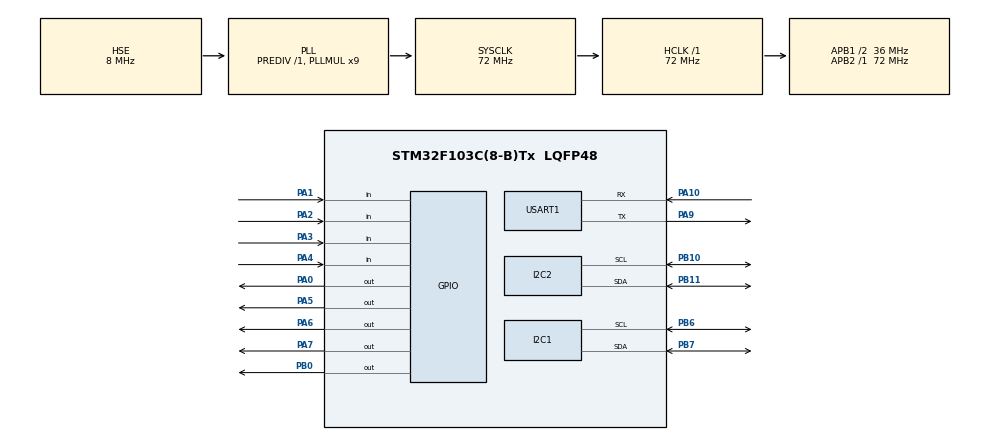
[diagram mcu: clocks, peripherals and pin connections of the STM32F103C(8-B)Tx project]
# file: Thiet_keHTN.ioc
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FREERTOS.INCLUDE_eTaskGetState=1
FREERTOS.INCLUDE_pcTaskGetTaskName=1
FREERTOS.INCLUDE_uxTaskGetStackHighWaterMark=1
FREERTOS.INCLUDE_vTaskCleanUpResources=1
FREERTOS.INCLUDE_vTaskDelayUntil=1
FREERTOS.INCLUDE_xEventGroupSetBitFromISR=1
FREERTOS.INCLUDE_xQueueGetMutexHolder=1
FREERTOS.INCLUDE_xSemaphoreGetMutexHolder=1
FREERTOS.INCLUDE_xTaskAbortDelay=1
FREERTOS.INCLUDE_xTaskGetCurrentTaskHandle=1
FREERTOS.INCLUDE_xTaskGetHandle=1
FREERTOS.Tasks01=Task0,24,150,Buttons,Default,NULL,Dynamic,NULL,NULL
FREERTOS.configUSE_NEWLIB_REENTRANT=0
I2C1.I2C_Mode=I2C_Fast
Mcu.Family=STM32F1
Mcu.Name=STM32F103C(8-B)Tx
Mcu.Package=LQFP48
NVIC.PriorityGroup=NVIC_PRIORITYGROUP_4
NVIC.TIM4_IRQn=true\:15\:0\:false\:false\:true\:false\:false\:true\:true
NVIC.TimeBase=TIM4_IRQn
NVIC.TimeBaseIP=TIM4
NVIC.USART1_IRQn=true\:7\:0\:true\:false\:true\:true\:true\:true\:true
PA0-WKUP.Signal=GPIO_Output
PA1.GPIO_PuPd=GPIO_PULLUP
PA1.Signal=GPIO_Input
PA10.Mode=Asynchronous
PA10.Signal=USART1_RX
PA13.Mode=Serial_Wire
PA13.Signal=SYS_JTMS-SWDIO
PA14.Mode=Serial_Wire
PA14.Signal=SYS_JTCK-SWCLK
PA2.GPIO_PuPd=GPIO_PULLUP
PA2.Signal=GPIO_Input
PA3.GPIO_PuPd=GPIO_PULLUP
PA3.Signal=GPIO_Input
PA4.GPIO_PuPd=GPIO_PULLUP
PA4.Signal=GPIO_Input
PA5.GPIO_PuPd=GPIO_PULLDOWN
PA5.Signal=GPIO_Output
PA6.GPIO_PuPd=GPIO_PULLDOWN
PA6.Signal=GPIO_Output
PA7.GPIO_PuPd=GPIO_PULLDOWN
PA7.Signal=GPIO_Output
PA9.Mode=Asynchronous
PA9.Signal=USART1_TX
PB0.GPIO_PuPd=GPIO_PULLDOWN
PB0.Signal=GPIO_Output
PB10.Mode=I2C
PB10.Signal=I2C2_SCL
PB11.Mode=I2C
PB11.Signal=I2C2_SDA
PB6.Mode=I2C
PB6.Signal=I2C1_SCL
PB7.Mode=I2C
PB7.Signal=I2C1_SDA
PD0-OSC_IN.Mode=HSE-External-Oscillator
PD0-OSC_IN.Signal=RCC_OSC_IN
PD1-OSC_OUT.Mode=HSE-External-Oscillator
PD1-OSC_OUT.Signal=RCC_OSC_OUT
ProjectManager.HeapSize=0x200
ProjectManager.StackSize=0x400
ProjectManager.TargetToolchain=STM32CubeIDE
RCC.AHBFreq_Value=72000000
RCC.APB1CLKDivider=RCC_HCLK_DIV2
RCC.APB1Freq_Value=36000000
RCC.APB1TimFreq_Value=72000000
RCC.APB2Freq_Value=72000000
RCC.APB2TimFreq_Value=72000000
RCC.HCLKFreq_Value=72000000
RCC.PLLMUL=RCC_PLL_MUL9
RCC.PLLSourceVirtual=RCC_PLLSOURCE_HSE
RCC.SYSCLKFreq_VALUE=72000000
RCC.SYSCLKSource=RCC_SYSCLKSOURCE_PLLCLK
RCC.USBFreq_Value=72000000
TIM1.Period=0xffff-1
TIM1.Prescaler=50-1
USART1.VirtualMode=VM_ASYNC
VP_FREERTOS_VS_CMSIS_V2.Mode=CMSIS_V2
VP_SYS_VS_tim4.Mode=TIM4
VP_TIM1_VS_ClockSourceINT.Mode=Internal
board=custom

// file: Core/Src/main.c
/* USER CODE BEGIN Header */
/**
  ******************************************************************************
  * @file           : main.c
  * @brief          : Main program body
  ******************************************************************************
  * @attention
  *
  * Copyright (c) 2023 STMicroelectronics.
  * All rights reserved.
  *
  * This software is licensed under terms that can be found in the LICENSE file
  * in the root directory of this software component.
  * If no LICENSE file comes with this software, it is provided AS-IS.
  *
  ******************************************************************************
  */
/* USER CODE END Header */
#include "main.h"

/* USER CODE BEGIN Includes */
#include "FreeRTOS.h"
#include "task.h"
#include "timers.h"
#include "queue.h"
#include "semphr.h"
#include "event_groups.h"
#include "stdio.h"
#include "BH1750.h"
#include"fonts.h"
#include"test.h"
#include"ssd1306.h"
#include"bitmap.h"
#include "string.h"
#include<stdlib.h>
#include "STM32_Keypad4x4.h"
/* USER CODE END Includes */

I2C_HandleTypeDef hi2c1;
I2C_HandleTypeDef hi2c2;

TIM_HandleTypeDef htim1;

UART_HandleTypeDef huart1;

/* USER CODE BEGIN PV */
xTaskHandle Task0;
xTaskHandle Task1;
xTaskHandle Task2;
xTaskHandle Task3;
xTaskHandle Task4;
EventGroupHandle_t xEventGroup;
/* USER CODE END PV */

void SystemClock_Config(void);
static void MX_GPIO_Init(void);
static void MX_I2C1_Init(void);
static void MX_I2C2_Init(void);
static void MX_TIM1_Init(void);
static void MX_USART1_UART_Init(void);

/* USER CODE BEGIN PFP */
void Warning_system(void * argument);
void TempRead(void * argument);
void LuxRead(void * argument);
void Buttons(void * argument);
void ReceiveData(void  * argument);

/* USER CODE END PFP */

/* USER CODE BEGIN 0 */
int __io_putchar (int ch){
	HAL_UART_Transmit(&huart1,(uint8_t *)&ch,1,100);
	return ch;
}
typedef struct {
    int ID;
    int light;
    float Temp;
} myStruct_t;
QueueHandle_t myQueue;
myStruct_t Tranfer, Receive;
static uint32_t preid_temp=3000;
static uint32_t preid_lux=500;
float war_temp=30;
int war_lux=800;
int value=0;
float temp=0;
char buffer[8];
int chedo=3;
char Key;
char anhsang[4];
char nhiet_do[4];
int m1=0;int m2=0;int m3=0;int m4=0;
void delay (uint16_t time)
{
	/* change your code here for the delay in microseconds */
	__HAL_TIM_SET_COUNTER(&htim1, 0);
	while ((__HAL_TIM_GET_COUNTER(&htim1))<time);
}

void Set_Pin_Output (GPIO_TypeDef *GPIOx, uint16_t GPIO_Pin)
{
	GPIO_InitTypeDef GPIO_InitStruct = {0};
	GPIO_InitStruct.Pin = GPIO_Pin;
	GPIO_InitStruct.Mode = GPIO_MODE_OUTPUT_PP;
	GPIO_InitStruct.Speed = GPIO_SPEED_FREQ_LOW;
	HAL_GPIO_Init(GPIOx, &GPIO_InitStruct);
}

void Set_Pin_Input (GPIO_TypeDef *GPIOx, uint16_t GPIO_Pin)
{
	GPIO_InitTypeDef GPIO_InitStruct = {0};
	GPIO_InitStruct.Pin = GPIO_Pin;
	GPIO_InitStruct.Mode = GPIO_MODE_INPUT;
	GPIO_InitStruct.Pull = GPIO_PULLUP;
	HAL_GPIO_Init(GPIOx, &GPIO_InitStruct);
}
/*********************************** DS18B20 FUNCTIONS ****************************************/

#define DS18B20_PORT GPIOA
#define DS18B20_PIN GPIO_PIN_0
#define BIT_temp	( 1 << 0 )
#define BIT_lux	( 1 << 1 )
uint8_t DS18B20_Start (void)
{
	uint8_t Response = 0;
	Set_Pin_Output(DS18B20_PORT, DS18B20_PIN);   // set the pin as output
	HAL_GPIO_WritePin (DS18B20_PORT, DS18B20_PIN, 0);  // pull the pin low
	delay (480);   // delay according to datasheet

	Set_Pin_Input(DS18B20_PORT, DS18B20_PIN);    // set the pin as input
	delay (80);    // delay according to datasheet

	if (!(HAL_GPIO_ReadPin (DS18B20_PORT, DS18B20_PIN))) Response = 1;    // if the pin is low i.e the presence pulse is detected
	else Response = -1;

	delay (400); // 480 us delay totally.

	return Response;
}

void DS18B20_Write (uint8_t data)
{
	Set_Pin_Output(DS18B20_PORT, DS18B20_PIN);  // set as output

	for (int i=0; i<8; i++)
	{

		if ((data & (1<<i))!=0)  // if the bit is high
		{
			// write 1

			Set_Pin_Output(DS18B20_PORT, DS18B20_PIN);  // set as output
			HAL_GPIO_WritePin (DS18B20_PORT, DS18B20_PIN, 0);  // pull the pin LOW
			delay (1);  // wait for 1 us

			Set_Pin_Input(DS18B20_PORT, DS18B20_PIN);  // set as input
			delay (50);  // wait for 60 us
		}

		else  // if the bit is low
		{
			// write 0

			Set_Pin_Output(DS18B20_PORT, DS18B20_PIN);
			HAL_GPIO_WritePin (DS18B20_PORT, DS18B20_PIN, 0);  // pull the pin LOW
			delay (50);  // wait for 60 us

			Set_Pin_Input(DS18B20_PORT, DS18B20_PIN);
		}
	}
}

uint8_t DS18B20_Read (void)
{
	uint8_t value=0;

	Set_Pin_Input(DS18B20_PORT, DS18B20_PIN);

	for (int i=0;i<8;i++)
	{
		Set_Pin_Output(DS18B20_PORT, DS18B20_PIN);   // set as output

		HAL_GPIO_WritePin (DS18B20_PORT, DS18B20_PIN, 0);  // pull the data pin LOW
		delay (1);  // wait for > 1us

		Set_Pin_Input(DS18B20_PORT, DS18B20_PIN);  // set as input
		if (HAL_GPIO_ReadPin (DS18B20_PORT, DS18B20_PIN))  // if the pin is HIGH
		{
			value |= 1<<i;  // read = 1
		}
		delay (50);  // wait for 60 us
	}
	return value;
}
float DS18B20_Readvalue ()
{ uint8_t  Temp_byte1, Temp_byte2;
uint16_t  TEMP;

float Temperature = 0;

	 DS18B20_Start ();
		  	  HAL_Delay (1);
		  	  DS18B20_Write (0xCC);  // skip ROM
		  	  DS18B20_Write (0x44);  // convert t
		  	  HAL_Delay (800);

		  	   DS18B20_Start ();
		        HAL_Delay(1);
		        DS18B20_Write (0xCC);  // skip ROM
		        DS18B20_Write (0xBE);  // Read Scratch-pad

		        Temp_byte1 = DS18B20_Read();
		  	  Temp_byte2 = DS18B20_Read();
		  	  TEMP = (Temp_byte2<<8)|Temp_byte1;
		  	  Temperature = (float)TEMP/16;
		  	  return Temperature;
}
void hien_thilux(char * str) {
	//SSD1306_Clear ();
	//SSD1306_GotoXY (10,10); // goto 10, 10
	SSD1306_GotoXY (0, 10);
		  		SSD1306_Puts ("Lux:     ", &Font_11x18, 1);
		  		SSD1306_UpdateScreen();
		  		if(value < 10) {
		  			SSD1306_GotoXY (63, 10);  // 1 DIGIT
		  		}
		  		else if (value < 100 ) {
		  			SSD1306_GotoXY (55, 10);  // 2 DIGITS
		  		}
		  		else if (value < 1000 ) {
		  			SSD1306_GotoXY (47, 10);  // 3 DIGITS
		  		}
		  		else {
		  			SSD1306_GotoXY (40, 10);  // 4 DIGIS
		  		}
	  SSD1306_Puts (str, &Font_11x18, 1);
	  SSD1306_UpdateScreen();

}
void hien_thitemp (char * TEMP){
	SSD1306_GotoXY (0, 30);
	SSD1306_Puts (TEMP, &Font_11x18, 1);
		  SSD1306_UpdateScreen();
}
void chuki(char* str,char b){
	int i=0;
 while(1){
	 b=  KEYPAD_Read();
	 if (b!='\0') {
		*(str+i)=b;
		i++;
		if (i==4) {
			break;
		}
		while(b != '\0')
					{
		b = KEYPAD_Read();
					}
	}
}

}

void hien_thi(const unsigned char * str){
	SSD1306_DrawBitmap(85, 0,str, 64, 64, 1);
	     SSD1306_UpdateScreen();
}
void canh_bao (){
	if(Receive.Temp < war_temp && value < war_lux)
	            	    {     m1++;m2=0;m3=0;m4=0;
	            	            if (m1==1) {
									SSD1306_Clear();
								}
	                     }else if (Receive.Temp > war_temp && value < war_lux) {
	                    	 m1=0;m2++;m3=0;m4=0;
	                    	 if (m2==1) {SSD1306_Clear();}
	                    	 hien_thi(nhietdo);
						}else if (Receive.Temp < war_temp && value > war_lux) {
							m1=0;m3++;m2=0;m4=0;
							if (m3==1) {SSD1306_Clear();}
							hien_thi(lux);
						}else if (Receive.Temp > war_temp && value > war_lux) {
							m1=0;m4++;m2=0;m3=0;
							if (m4==1) {SSD1306_Clear();}
							hien_thi(nguyhiem);
						}
}
/* USER CODE END 0 */

int main(void)
{

  /* MCU Configuration--------------------------------------------------------*/

  /* Reset of all peripherals, Initializes the Flash interface and the Systick. */
  HAL_Init();

  /* Configure the system clock */
  SystemClock_Config();

  /* Initialize all configured peripherals */
  MX_GPIO_Init();
  MX_I2C1_Init();
  MX_I2C2_Init();
  MX_TIM1_Init();
  MX_USART1_UART_Init();
  /* USER CODE BEGIN 2 */
  HAL_UART_Receive_IT(&huart1,(uint8_t *)buffer, sizeof(buffer));
  HAL_TIM_Base_Start(&htim1);
    SSD1306_Init (); // initialize the display

    xTaskCreate(Buttons,"Buttons",50,NULL,4,&Task0);
    xTaskCreate(TempRead,"TempRead",100,NULL,4,&Task1);
    xTaskCreate(LuxRead,"LuxRead",100,NULL,4,&Task2);
    xTaskCreate(Warning_system,"WarningSystem",75,NULL, 8,&Task4);
    xTaskCreate(ReceiveData,"ReceiveData",200,NULL,6,&Task3);

    myQueue = xQueueCreate(10, sizeof(myStruct_t));
    xEventGroup = xEventGroupCreate();
    vTaskStartScheduler();
  /* USER CODE END 2 */

  /* We should never get here as control is now taken by the scheduler */
  /* Infinite loop */
  while (1)
  {

  }
}

void SystemClock_Config(void)
{
  RCC_OscInitTypeDef RCC_OscInitStruct = {0};
  RCC_ClkInitTypeDef RCC_ClkInitStruct = {0};

  /** Initializes the RCC Oscillators according to the specified parameters
  * in the RCC_OscInitTypeDef structure.
  */
  RCC_OscInitStruct.OscillatorType = RCC_OSCILLATORTYPE_HSE;
  RCC_OscInitStruct.HSEState = RCC_HSE_ON;
  RCC_OscInitStruct.HSEPredivValue = RCC_HSE_PREDIV_DIV1;
  RCC_OscInitStruct.HSIState = RCC_HSI_ON;
  RCC_OscInitStruct.PLL.PLLState = RCC_PLL_ON;
  RCC_OscInitStruct.PLL.PLLSource = RCC_PLLSOURCE_HSE;
  RCC_OscInitStruct.PLL.PLLMUL = RCC_PLL_MUL9;
  if (HAL_RCC_OscConfig(&RCC_OscInitStruct) != HAL_OK)
  {
    Error_Handler();
  }

  /** Initializes the CPU, AHB and APB buses clocks
  */
  RCC_ClkInitStruct.ClockType = RCC_CLOCKTYPE_HCLK|RCC_CLOCKTYPE_SYSCLK
                              |RCC_CLOCKTYPE_PCLK1|RCC_CLOCKTYPE_PCLK2;
  RCC_ClkInitStruct.SYSCLKSource = RCC_SYSCLKSOURCE_PLLCLK;
  RCC_ClkInitStruct.AHBCLKDivider = RCC_SYSCLK_DIV1;
  RCC_ClkInitStruct.APB1CLKDivider = RCC_HCLK_DIV2;
  RCC_ClkInitStruct.APB2CLKDivider = RCC_HCLK_DIV1;

  if (HAL_RCC_ClockConfig(&RCC_ClkInitStruct, FLASH_LATENCY_2) != HAL_OK)
  {
    Error_Handler();
  }
}

static void MX_I2C1_Init(void)
{

  hi2c1.Instance = I2C1;
  hi2c1.Init.ClockSpeed = 400000;
  hi2c1.Init.DutyCycle = I2C_DUTYCYCLE_2;
  hi2c1.Init.OwnAddress1 = 0;
  hi2c1.Init.AddressingMode = I2C_ADDRESSINGMODE_7BIT;
  hi2c1.Init.DualAddressMode = I2C_DUALADDRESS_DISABLE;
  hi2c1.Init.OwnAddress2 = 0;
  hi2c1.Init.GeneralCallMode = I2C_GENERALCALL_DISABLE;
  hi2c1.Init.NoStretchMode = I2C_NOSTRETCH_DISABLE;
  if (HAL_I2C_Init(&hi2c1) != HAL_OK)
  {
    Error_Handler();
  }

}

static void MX_I2C2_Init(void)
{

  hi2c2.Instance = I2C2;
  hi2c2.Init.ClockSpeed = 100000;
  hi2c2.Init.DutyCycle = I2C_DUTYCYCLE_2;
  hi2c2.Init.OwnAddress1 = 0;
  hi2c2.Init.AddressingMode = I2C_ADDRESSINGMODE_7BIT;
  hi2c2.Init.DualAddressMode = I2C_DUALADDRESS_DISABLE;
  hi2c2.Init.OwnAddress2 = 0;
  hi2c2.Init.GeneralCallMode = I2C_GENERALCALL_DISABLE;
  hi2c2.Init.NoStretchMode = I2C_NOSTRETCH_DISABLE;
  if (HAL_I2C_Init(&hi2c2) != HAL_OK)
  {
    Error_Handler();
  }

}

static void MX_TIM1_Init(void)
{

  TIM_ClockConfigTypeDef sClockSourceConfig = {0};
  TIM_MasterConfigTypeDef sMasterConfig = {0};

  htim1.Instance = TIM1;
  htim1.Init.Prescaler = 50-1;
  htim1.Init.CounterMode = TIM_COUNTERMODE_UP;
  htim1.Init.Period = 0xffff-1;
  htim1.Init.ClockDivision = TIM_CLOCKDIVISION_DIV1;
  htim1.Init.RepetitionCounter = 0;
  htim1.Init.AutoReloadPreload = TIM_AUTORELOAD_PRELOAD_DISABLE;
  if (HAL_TIM_Base_Init(&htim1) != HAL_OK)
  {
    Error_Handler();
  }
  sClockSourceConfig.ClockSource = TIM_CLOCKSOURCE_INTERNAL;
  if (HAL_TIM_ConfigClockSource(&htim1, &sClockSourceConfig) != HAL_OK)
  {
    Error_Handler();
  }
  sMasterConfig.MasterOutputTrigger = TIM_TRGO_RESET;
  sMasterConfig.MasterSlaveMode = TIM_MASTERSLAVEMODE_DISABLE;
  if (HAL_TIMEx_MasterConfigSynchronization(&htim1, &sMasterConfig) != HAL_OK)
  {
    Error_Handler();
  }

}

static void MX_USART1_UART_Init(void)
{

  huart1.Instance = USART1;
  huart1.Init.BaudRate = 115200;
  huart1.Init.WordLength = UART_WORDLENGTH_8B;
  huart1.Init.StopBits = UART_STOPBITS_1;
  huart1.Init.Parity = UART_PARITY_NONE;
  huart1.Init.Mode = UART_MODE_TX_RX;
  huart1.Init.HwFlowCtl = UART_HWCONTROL_NONE;
  huart1.Init.OverSampling = UART_OVERSAMPLING_16;
  if (HAL_UART_Init(&huart1) != HAL_OK)
  {
    Error_Handler();
  }

}

static void MX_GPIO_Init(void)
{
  GPIO_InitTypeDef GPIO_InitStruct = {0};

  /* GPIO Ports Clock Enable */
  __HAL_RCC_GPIOD_CLK_ENABLE();
  __HAL_RCC_GPIOA_CLK_ENABLE();
  __HAL_RCC_GPIOB_CLK_ENABLE();

  /*Configure GPIO pin Output Level */
  HAL_GPIO_WritePin(GPIOA, GPIO_PIN_0|GPIO_PIN_5|GPIO_PIN_6|GPIO_PIN_7, GPIO_PIN_RESET);

  /*Configure GPIO pin Output Level */
  HAL_GPIO_WritePin(GPIOB, GPIO_PIN_0, GPIO_PIN_RESET);

  /*Configure GPIO pin : PA0 */
  GPIO_InitStruct.Pin = GPIO_PIN_0;
  GPIO_InitStruct.Mode = GPIO_MODE_OUTPUT_PP;
  GPIO_InitStruct.Pull = GPIO_NOPULL;
  GPIO_InitStruct.Speed = GPIO_SPEED_FREQ_LOW;
  HAL_GPIO_Init(GPIOA, &GPIO_InitStruct);

  /*Configure GPIO pins : PA1 PA2 PA3 PA4 */
  GPIO_InitStruct.Pin = GPIO_PIN_1|GPIO_PIN_2|GPIO_PIN_3|GPIO_PIN_4;
  GPIO_InitStruct.Mode = GPIO_MODE_INPUT;
  GPIO_InitStruct.Pull = GPIO_PULLUP;
  HAL_GPIO_Init(GPIOA, &GPIO_InitStruct);

  /*Configure GPIO pins : PA5 PA6 PA7 */
  GPIO_InitStruct.Pin = GPIO_PIN_5|GPIO_PIN_6|GPIO_PIN_7;
  GPIO_InitStruct.Mode = GPIO_MODE_OUTPUT_PP;
  GPIO_InitStruct.Pull = GPIO_PULLDOWN;
  GPIO_InitStruct.Speed = GPIO_SPEED_FREQ_LOW;
  HAL_GPIO_Init(GPIOA, &GPIO_InitStruct);

  /*Configure GPIO pin : PB0 */
  GPIO_InitStruct.Pin = GPIO_PIN_0;
  GPIO_InitStruct.Mode = GPIO_MODE_OUTPUT_PP;
  GPIO_InitStruct.Pull = GPIO_PULLDOWN;
  GPIO_InitStruct.Speed = GPIO_SPEED_FREQ_LOW;
  HAL_GPIO_Init(GPIOB, &GPIO_InitStruct);

}

/* USER CODE BEGIN 4 */
void HAL_UART_RxCpltCallback(UART_HandleTypeDef *huart)
{
	if (huart->Instance == huart1.Instance) {
		if(strstr(buffer,"che do")!=NULL)
		 {
			 sscanf(buffer+7, "%d", &chedo);
		  }
		if(strstr(buffer,"T1: ")!=NULL)
			{
			sscanf(buffer+4, "%d", (int *)&preid_temp);
			}
		if(strstr(buffer,"T2: ")!=NULL)
			{
					sscanf(buffer+4, "%d", (int *)&preid_lux);
			}
		if(strstr(buffer,"Tem:")!=NULL)
										 {
				  sscanf(buffer+4, "%f", &war_temp);
		  }
		if(strstr(buffer,"Lux:")!=NULL)
		 {
				   sscanf(buffer+4, "%d", &war_lux);
		  }
	HAL_UART_Receive_IT(&huart1,(uint8_t *)buffer, sizeof(buffer));
	}

}

void TempRead(void * argument)
	  {
	    /* USER CODE BEGIN 5 */
	uint32_t ticktemp;
	    /* Infinite loop */
	  	while (1)
	    {
	  		ticktemp= xTaskGetTickCount();
   	  	  temp=DS18B20_Readvalue ();
	  	  Tranfer.ID=1;
	        Tranfer.Temp=temp;
	        xQueueSend(myQueue,&Tranfer,portMAX_DELAY);
	        vTaskDelayUntil(&ticktemp, preid_temp);
	    }
	    /* USER CODE END 5 */
	  }

 void LuxRead(void * argument)
	  {
	    /* USER CODE BEGIN LuxRead */
	        uint32_t ticklux;
	  		BH1750_init_i2c(&hi2c2);
	  		BH1750_device_t* test_dev = BH1750_init_dev_struct(&hi2c2, "test device", true);
	  	    BH1750_init_dev(test_dev);
	    /* Infinite loop */
	   while (1)
	    {//Key = KEYPAD_Read();
		   ticklux= xTaskGetTickCount();
		  	  BH1750_get_lumen(test_dev);
	  	 	  value=test_dev->value;
	  	 	  	 	Tranfer.ID=2;
	  	 	  	 	Tranfer.light=value;
	  	 	  	xQueueSend(myQueue,&Tranfer,portMAX_DELAY);
	  	 	 vTaskDelayUntil(&ticklux, preid_lux);
	    }
	    /* USER CODE END LuxRead */
	  }

 void ReceiveData(void  * argument)
	  {
	    /* USER CODE BEGIN ReceiveData */

	  	char Temp[15] ;
	  	char light[15] ;
	  	uint32_t ticknow;

	    /* Infinite loop */
	  	while (1)
	    {
	      xQueueReceive(myQueue,&(Receive), portMAX_DELAY);
	      if (Receive.ID==1)
	        {
	    	ticknow= xTaskGetTickCount();
	  	  sprintf(Temp, "Temp:%.1f", Receive.Temp);
               canh_bao();
	  	       hien_thitemp(Temp);
	  	        if (chedo==1 || chedo == 3) {
	  	        	printf("Temperature: %.1f   S:%d\n",Receive.Temp,(int)ticknow);
				}
	  	      if (Receive.Temp >= war_temp) {
	  	      	  	               	xEventGroupSetBits(xEventGroup,BIT_temp);/* The bits being set. */
	  	      	  	   			}
	        }else if (Receive.ID==2)
	           {
	            ticknow= xTaskGetTickCount();
	  	      sprintf(light, "%d", Receive.light);
	  	       hien_thilux(light);
	  	     if (chedo==2 || chedo == 3) {
	  	       printf("Light: %d   S:%d\n",Receive.light,(int)ticknow);

	  	     }

	  	   if (Receive.light >= war_lux) {
	  	               	xEventGroupSetBits(xEventGroup,BIT_lux);/* The bits being set. */
	  	   			}
	  	     }

	    }
	    /* USER CODE END ReceiveData */
	  }

 void Buttons(void *argument)
 {
   /* USER CODE BEGIN 5 */

 	char a;
 	    /* Infinite loop */
 	  	while (1)
 	    {
 	  		Key = KEYPAD_Read();
 	  		     if (Key != KEYPAD_NOT_PRESSED) {
 	  		    	 if (Key=='*' || Key=='#') {
 	  					a=Key;
 	  		        	while(Key != '\0')
 	  					{
 	  						Key = KEYPAD_Read();
 	  					}
 	  		       if (a=='*') {
 	  		    	   chuki(anhsang, Key);
 	  		    	preid_lux = atof(anhsang);
 	  		    	memset(anhsang,'\0', sizeof(anhsang));
				   }else if (a=='#') {
					   chuki(nhiet_do, Key);
					   preid_temp = atof(nhiet_do);
					   memset(nhiet_do,'\0', sizeof(nhiet_do));
				}
 	  		         }

 	  		     }
                     vTaskDelay(100);
 	    }
   /* USER CODE END 5 */
 }
 void Warning_system(void * argument)
 	  {
 	    /* USER CODE BEGIN 5 */

 	    /* Infinite loop */
 	  	while (1)
 	    {
 	  		EventBits_t uxBits=xEventGroupWaitBits(
 	            xEventGroup,   /* The event group being tested. */
 	            BIT_temp|BIT_lux , /* The bits within the event group to wait for. */
 	            pdTRUE,        /* BIT_0 & BIT_4 should be cleared before returning. */
 	            pdFALSE,       /* Don't wait for both bits, either bit will do. */
 	            portMAX_DELAY );/* Wait a maximum of 100ms for either bit to be set. */

 	  		if (uxBits & BIT_temp) {
 	  			printf("The temperature is too high\n\n");
			}
 	  		if (uxBits & BIT_lux) {
 	  		 	printf("The light is too high\n\n");
 	  					}
 	    }
 	    /* USER CODE END 5 */
 	  }
/* USER CODE END 4 */

void HAL_TIM_PeriodElapsedCallback(TIM_HandleTypeDef *htim)
{
  if (htim->Instance == TIM4) {
    HAL_IncTick();
  }
}

void Error_Handler(void)
{
  __disable_irq();
  while (1)
  {
  }
}
